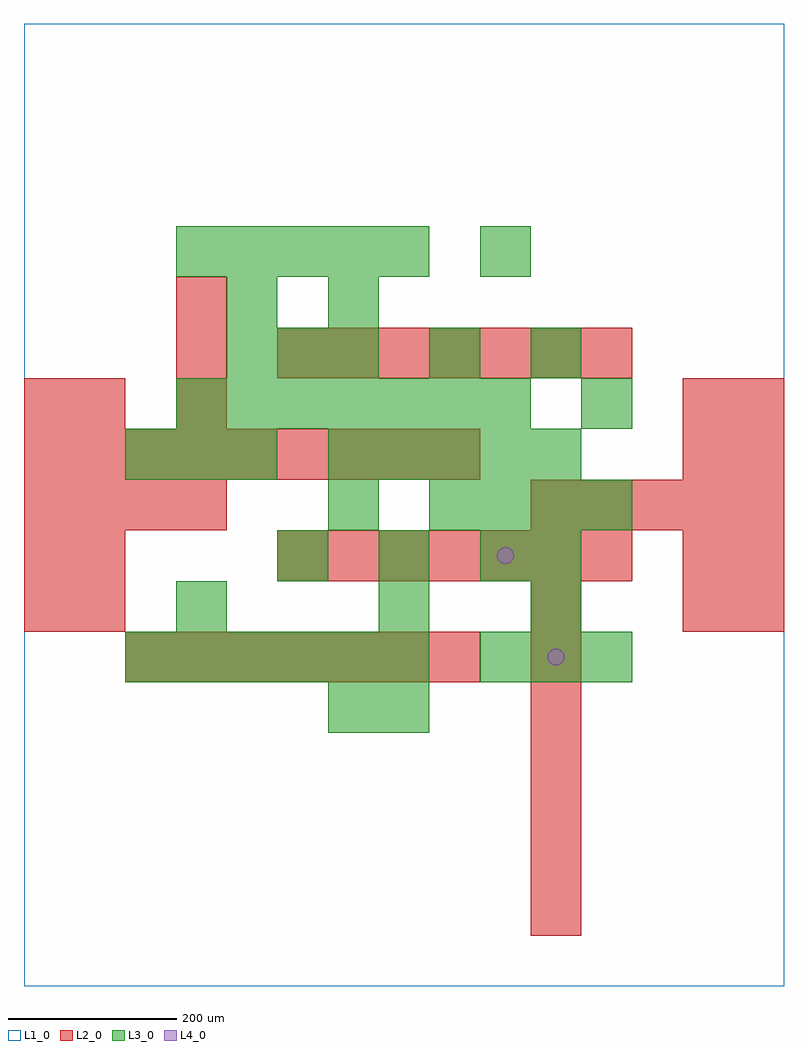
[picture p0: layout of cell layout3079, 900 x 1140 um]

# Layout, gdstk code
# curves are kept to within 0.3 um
import gdstk
lib = gdstk.Library(unit=1e-6, precision=1e-09)
def R(c, l, rs):  # rectangles x0, y0, x1, y1
    for r in rs: c.add(gdstk.rectangle(r[:2], r[2:], *l))
def A(c, l, x, y, w, h, nx, ny, dx, dy):  # array of equal rectangles
    R(c, l, [(x+i*dx, y+j*dy, x+i*dx+w, y+j*dy+h) for i in range(nx) for j in range(ny)])
def P(c, l, *ps):  # polygons
    for p in ps: c.add(gdstk.Polygon(p, *l))
L1_0 = (1, 0)
L2_0 = (2, 0)
L3_0 = (3, 0)
L4_0 = (4, 0)

layout3079 = lib.new_cell('layout3079')
R(layout3079, L1_0, [(0,0,900,1140)])
A(layout3079, L2_0, 600, 60, 60, 60, 1, 7, 0, 60)
A(layout3079, L2_0, 120, 360, 60, 60, 7, 1, 60, 0)
A(layout3079, L2_0, 300, 480, 60, 60, 7, 2, 60, 240)
A(layout3079, L2_0, 0, 540, 60, 60, 4, 1, 60, 0)
A(layout3079, L2_0, 600, 540, 60, 60, 5, 1, 60, 0)
A(layout3079, L2_0, 0, 600, 60, 60, 9, 1, 60, 0)
A(layout3079, L2_0, 180, 660, 60, 60, 1, 3, 0, 60)
R(layout3079, L2_0, [(0,420,60,480), (60,420,120,480), (780,420,840,480), (840,420,900,480), (0,480,60,540), (60,480,120,540), (780,480,840,540), (840,480,900,540), (780,600,840,660), (840,600,900,660), (0,660,60,720), (60,660,120,720), (780,660,840,720), (840,660,900,720)])
A(layout3079, L3_0, 360, 300, 60, 60, 1, 3, 0, 240)
A(layout3079, L3_0, 120, 360, 60, 60, 6, 1, 60, 0)
A(layout3079, L3_0, 540, 360, 60, 60, 3, 1, 60, 0)
A(layout3079, L3_0, 300, 480, 60, 60, 3, 1, 120, 0)
A(layout3079, L3_0, 480, 540, 60, 60, 4, 1, 60, 0)
A(layout3079, L3_0, 120, 600, 60, 60, 3, 1, 60, 0)
A(layout3079, L3_0, 360, 600, 60, 60, 5, 1, 60, 0)
A(layout3079, L3_0, 180, 660, 60, 60, 7, 1, 60, 0)
A(layout3079, L3_0, 240, 720, 60, 60, 3, 1, 60, 0)
A(layout3079, L3_0, 180, 840, 60, 60, 5, 1, 60, 0)
R(layout3079, L3_0, [(420,300,480,360), (180,420,240,480), (420,420,480,480), (600,420,660,480), (600,480,660,540), (660,660,720,720), (480,720,540,780), (600,720,660,780), (240,780,300,840), (540,840,600,900)])
P(layout3079, L4_0, [(580,510),(579.239,513.827),(577.071,517.071),(573.827,519.239),(570,520),(566.173,519.239),(562.929,517.071),(560.761,513.827),(560,510),(560.761,506.173),(562.929,502.929),(566.173,500.761),(570,500),(573.827,500.761),(577.071,502.929),(579.239,506.173)],
  [(640,390),(639.239,393.827),(637.071,397.071),(633.827,399.239),(630,400),(626.173,399.239),(622.929,397.071),(620.761,393.827),(620,390),(620.761,386.173),(622.929,382.929),(626.173,380.761),(630,380),(633.827,380.761),(637.071,382.929),(639.239,386.173)])

lib.write_gds('layout3079.gds')
